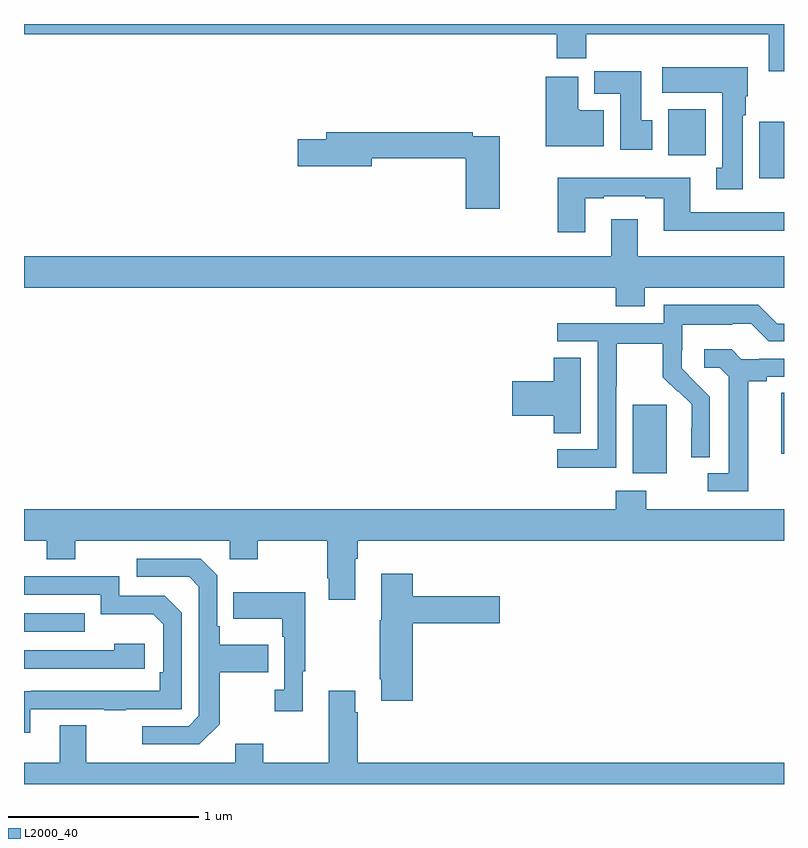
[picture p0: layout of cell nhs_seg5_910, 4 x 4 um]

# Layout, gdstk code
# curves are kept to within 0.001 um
import gdstk
lib = gdstk.Library(unit=1e-6, precision=1e-09)
def R(c, l, rs):  # rectangles x0, y0, x1, y1
    for r in rs: c.add(gdstk.rectangle(r[:2], r[2:], *l))
def P(c, l, *ps):  # polygons
    for p in ps: c.add(gdstk.Polygon(p, *l))
L2000_40 = (2000, 40)

nhs_seg5_910 = lib.new_cell('nhs_seg5_910')
R(nhs_seg5_910, L2000_40, [(169,869.601,169.319,869.697), (172.205,870.434,172.384,870.795), (172.985,870.537,173,870.857), (172.871,871.988,173,872.284), (172.391,872.108,172.588,872.35)])
P(nhs_seg5_910, L2000_40, [(173,872.799),(169,872.799),(169,872.744),(171.803,872.744),(171.803,872.62),(171.959,872.62),(171.959,872.744),(172.919,872.744),(172.919,872.55),(173,872.55)],
  [(172.783,872.318),(172.798,872.318),(172.798,872.418),(172.81,872.418),(172.81,872.572),(172.359,872.572),(172.359,872.438),(172.676,872.438),(172.676,872.042),(172.643,872.042),(172.643,871.929),(172.783,871.929)],
  [(172.306,872.292),(172.249,872.292),(172.249,872.55),(172.001,872.55),(172.001,872.432),(172.139,872.432),(172.139,872.136),(172.306,872.136)],
  [(172.051,872.344),(171.922,872.344),(171.922,872.35),(171.916,872.35),(171.916,872.521),(171.746,872.521),(171.746,872.156),(172.051,872.156)],
  [(171.504,872.208),(171.362,872.208),(171.362,872.228),(170.591,872.228),(170.591,872.192),(170.442,872.192),(170.442,872.05),(170.83,872.05),(170.83,872.092),(171.326,872.092),(171.326,871.827),(171.504,871.827)],
  [(171.955,871.881),(172.051,871.881),(172.051,871.893),(172.271,871.893),(172.271,871.881),(172.367,871.881),(172.367,871.712),(173,871.712),(173,871.809),(172.507,871.809),(172.507,871.99),(171.808,871.99),(171.808,871.704),(171.955,871.704)],
  [(172.267,871.412),(173,871.412),(173,871.576),(172.231,871.576),(172.231,871.771),(172.091,871.771),(172.091,871.576),(169,871.576),(169,871.412),(172.115,871.412),(172.115,871.313),(172.267,871.313)],
  [(172.116,870.892),(172.119,870.892),(172.119,871.116),(172.363,871.116),(172.363,870.941),(172.44,870.864),(172.443,870.867),(172.514,870.797),(172.514,870.674),(172.512,870.674),(172.512,870.52),(172.608,870.52),(172.608,870.838),(172.462,870.986),(172.462,871.083),(172.464,871.083),(172.464,871.217),(172.727,871.217),(172.727,871.221),(172.827,871.221),(172.92,871.128),(173,871.128),(173,871.221),(172.965,871.221),(172.865,871.321),(172.368,871.321),(172.368,871.224),(171.807,871.224),(171.807,871.128),(172.02,871.128),(172.02,870.561),(171.807,870.561),(171.807,870.463),(172.116,870.463)],
  [(172.813,870.92),(172.909,870.92),(172.909,870.942),(173,870.942),(173,871.038),(172.87,871.038),(172.87,871.035),(172.776,871.035),(172.724,871.087),(172.581,871.087),(172.581,870.99),(172.662,870.99),(172.709,870.943),(172.709,870.435),(172.599,870.435),(172.599,870.339),(172.813,870.339)],
  [(171.931,871.043),(171.788,871.043),(171.788,870.92),(171.57,870.92),(171.57,870.737),(171.788,870.737),(171.788,870.646),(171.931,870.646)],
  [(170.743,869.984),(170.756,869.984),(170.756,870.08),(173,870.08),(173,870.244),(172.275,870.244),(172.275,870.343),(172.115,870.343),(172.115,870.244),(169,870.244),(169,870.08),(169.121,870.08),(169.121,869.981),(169.269,869.981),(169.269,870.08),(170.082,870.08),(170.082,869.981),(170.229,869.981),(170.229,870.08),(170.596,870.08),(170.596,869.881),(170.603,869.881),(170.603,869.769),(170.743,869.769)],
  [(170.029,869.113),(170.029,869.386),(170.285,869.386),(170.285,869.533),(170.029,869.533),(170.029,869.629),(170.016,869.629),(170.016,869.898),(169.929,869.985),(169.593,869.985),(169.593,869.889),(169.869,869.889),(169.92,869.838),(169.92,869.157),(169.866,869.103),(169.623,869.103),(169.623,869.007),(169.923,869.007)],
  [(171.047,869.645),(171.505,869.645),(171.505,869.787),(171.047,869.787),(171.047,869.905),(170.879,869.905),(170.879,869.661),(170.872,869.661),(170.872,869.35),(170.879,869.35),(170.879,869.238),(171.047,869.238)],
  [(169.033,869.193),(169.423,869.193),(169.423,869.188),(169.535,869.188),(169.535,869.193),(169.83,869.193),(169.83,869.7),(169.74,869.79),(169.5,869.79),(169.5,869.892),(169,869.892),(169,869.796),(169.404,869.796),(169.404,869.693),(169.681,869.693),(169.734,869.64),(169.734,869.386),(169.714,869.386),(169.714,869.289),(169,869.288),(169,869.07),(169.033,869.07)],
  [(170.467,869.393),(170.479,869.393),(170.479,869.809),(170.101,869.809),(170.101,869.669),(170.358,869.669),(170.358,869.573),(170.37,869.573),(170.37,869.294),(170.319,869.294),(170.319,869.181),(170.467,869.181)],
  [(169.636,869.536),(169.475,869.536),(169.475,869.502),(169,869.502),(169,869.406),(169.636,869.406)],
  [(173,868.912),(170.756,868.912),(170.756,869.177),(170.743,869.177),(170.743,869.29),(170.603,869.29),(170.603,868.912),(170.259,868.912),(170.259,869.011),(170.111,869.011),(170.111,868.912),(169.327,868.912),(169.327,869.107),(169.187,869.107),(169.187,868.912),(169,868.912),(169,868.799),(173,868.799)])

lib.write_gds('nhs_seg5_910.gds')
